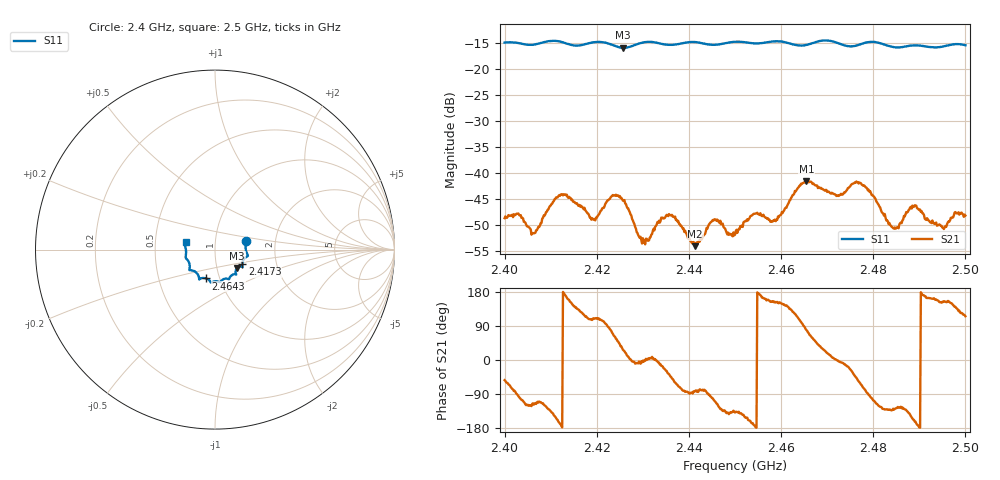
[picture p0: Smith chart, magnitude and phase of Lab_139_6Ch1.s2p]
# Hz S RI R 50
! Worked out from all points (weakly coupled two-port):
!   601 points, 2.4 GHz to 2.5 GHz, reference 50 ohm
!   highest |S21| = -41.55 dB at 2.4655 GHz (marker M1); lowest = -54.1 dB at 2.4413 GHz (marker M2)
!   lowest |S11| = -15.9 dB at 2.4257 GHz (marker M3), VSWR 1.38, Z = 62.5 - j13.1 ohm
!   |S11| at or under -10 dB: start of sweep to end of sweep
!   S12 and S22 are empty: the file has one direction only
!   S11 on the Smith chart (normalised r, x): 2.4 GHz: 1.41, +0.14; 2.4173 GHz: 1.34, -0.22; 2.4643 GHz: 0.86, -0.28; 2.5 GHz: 0.72, +0.06
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2.4e9  0.173 0.0487  0.00219 -0.00294  0 0  0 0
2.406333e9  0.1716 -0.00232  -0.00122 -0.00231  0 0  0 0
2.411667e9  0.1816 -0.0369  -0.00571 -0.00177  0 0  0 0
2.416667e9  0.1528 -0.0742  -0.00272 0.00382  0 0  0 0
2.417333e9  0.1519 -0.0816  -0.00211 0.0041  0 0  0 0
2.425667e9  0.1229 -0.1024  0.00482 0.00246  0 0  0 0
2.43e9  0.1172 -0.1365  0.00235 -6.9e-05  0 0  0 0
2.433333e9  0.1127 -0.1373  0.0033 -0.000373  0 0  0 0
2.4365e9  0.0904 -0.1453  0.00241 -0.00292  0 0  0 0
2.441333e9  0.0768 -0.1648  0.000278 -0.00195  0 0  0 0
2.445333e9  0.0531 -0.1625  -0.000868 -0.00337  0 0  0 0
2.45e9  0.0287 -0.1808  -0.00191 -0.00167  0 0  0 0
2.454333e9  0.00751 -0.1763  -0.00402 -0.000409  0 0  0 0
2.458667e9  -0.0215 -0.1835  -0.00318 0.00159  0 0  0 0
2.464333e9  -0.0498 -0.1606  -0.00141 0.00773  0 0  0 0
2.4655e9  -0.0634 -0.1583  0.00156 0.00822  0 0  0 0
2.466667e9  -0.0758 -0.1594  0.0041 0.00694  0 0  0 0
2.476833e9  -0.1251 -0.1164  0.00439 -0.00657  0 0  0 0
2.483333e9  -0.1407 -0.0898  -0.0021 -0.00244  0 0  0 0
2.488833e9  -0.1623 -0.0465  -0.00438 -0.00177  0 0  0 0
2.495333e9  -0.165 0.0134  -0.00261 0.00121  0 0  0 0
2.5e9  -0.164 0.0431  -0.00167 0.00351  0 0  0 0
